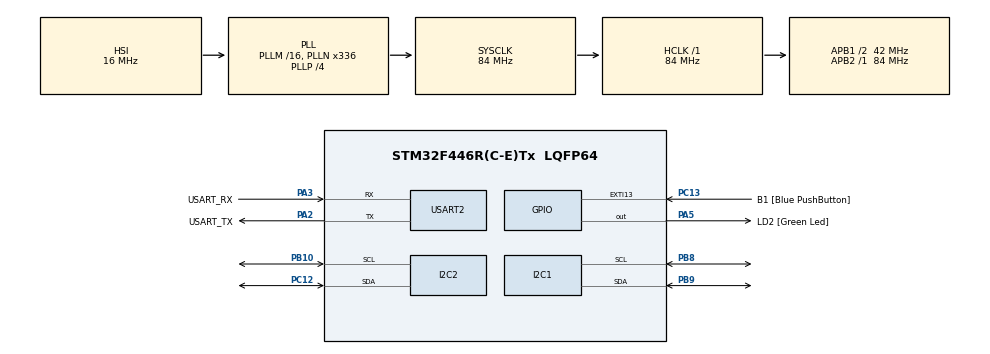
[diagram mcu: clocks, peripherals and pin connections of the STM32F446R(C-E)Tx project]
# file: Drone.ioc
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Mcu.Family=STM32F4
Mcu.Name=STM32F446R(C-E)Tx
Mcu.Package=LQFP64
NVIC.PriorityGroup=NVIC_PRIORITYGROUP_0
PA13.GPIO_Label=TMS
PA13.Signal=SYS_JTMS-SWDIO
PA14.GPIO_Label=TCK
PA14.Signal=SYS_JTCK-SWCLK
PA2.GPIO_Label=USART_TX
PA2.Mode=Asynchronous
PA2.Signal=USART2_TX
PA3.GPIO_Label=USART_RX
PA3.Mode=Asynchronous
PA3.Signal=USART2_RX
PA5.GPIO_Label=LD2 [Green Led]
PA5.Signal=GPIO_Output
PB10.Mode=I2C
PB10.Signal=I2C2_SCL
PB3.GPIO_Label=SWO
PB3.Signal=SYS_JTDO-SWO
PB8.Mode=I2C
PB8.Signal=I2C1_SCL
PB9.Mode=I2C
PB9.Signal=I2C1_SDA
PC12.Mode=I2C
PC12.Signal=I2C2_SDA
PC13.GPIO_Label=B1 [Blue PushButton]
PC13.GPIO_ModeDefaultEXTI=GPIO_MODE_IT_FALLING
PC13.Signal=GPXTI13
PC14-OSC32_IN.Signal=RCC_OSC32_IN
PC15-OSC32_OUT.Signal=RCC_OSC32_OUT
PH0-OSC_IN.Signal=RCC_OSC_IN
PH1-OSC_OUT.Signal=RCC_OSC_OUT
ProjectManager.HeapSize=0x200
ProjectManager.StackSize=0x400
ProjectManager.TargetToolchain=STM32CubeIDE
RCC.AHBFreq_Value=84000000
RCC.APB1CLKDivider=RCC_HCLK_DIV2
RCC.APB1Freq_Value=42000000
RCC.APB1TimFreq_Value=84000000
RCC.APB2Freq_Value=84000000
RCC.APB2TimFreq_Value=84000000
RCC.CortexFreq_Value=84000000
RCC.FLatency-AdvancedSettings=FLASH_LATENCY_2
RCC.HCLKFreq_Value=84000000
RCC.HSE_VALUE=8000000
RCC.HSI_VALUE=16000000
RCC.LSE_VALUE=32768
RCC.PLLN=336
RCC.PLLP=RCC_PLLP_DIV4
RCC.SYSCLKFreq_VALUE=84000000
RCC.SYSCLKSource=RCC_SYSCLKSOURCE_PLLCLK
RCC.USBFreq_Value=168000000
RCC.VCOOutputFreq_Value=336000000
TIM2.Prescaler=83
USART2.VirtualMode=VM_ASYNC
VP_TIM2_VS_ClockSourceINT.Mode=Internal
board=NUCLEO-F446RE

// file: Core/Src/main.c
/* USER CODE BEGIN Header */
/**
  ******************************************************************************
  * @file           : main.c
  * @brief          : Main program body
  ******************************************************************************
  * @attention
  *
  * Copyright (c) 2026 STMicroelectronics.
  * All rights reserved.
  *
  * This software is licensed under terms that can be found in the LICENSE file
  * in the root directory of this software component.
  * If no LICENSE file comes with this software, it is provided AS-IS.
  *
  ******************************************************************************
  */
/* USER CODE END Header */
#include "main.h"
#include "bmi088.h"
#include "bmm150.h"
#include "imu.h"

#include <stdio.h>
#include <stdint.h>
#include <string.h>

I2C_HandleTypeDef hi2c1;
I2C_HandleTypeDef hi2c2;

TIM_HandleTypeDef htim2;

UART_HandleTypeDef huart2;

/* USER CODE BEGIN PV */

static void BMM150_Compens_Test(void)
{
    static uint32_t last_uart_ms = 0;

    uint32_t now_ms = HAL_GetTick();

    if ((uint32_t)(now_ms - last_uart_ms) < 100U) {
        return;
    }

    last_uart_ms = now_ms;

    MagData_t magData;

    HAL_StatusTypeDef status = BMM150_Compens(&magData);

    char msg[128];
    int len;

    if (status != HAL_OK) {
        len = snprintf(msg, sizeof(msg),
                       "BMM150 COMPENS ERROR | HAL=%d\r\n",
                       (int)status);
    } else {
        len = snprintf(msg, sizeof(msg),
                       "BMM150 [uT] | X=%+.2f Y=%+.2f Z=%+.2f\r\n",
                       (double)magData.mag_x,
                       (double)magData.mag_y,
                       (double)magData.mag_z);
    }

    if (len > 0 && len < (int)sizeof(msg)) {
        HAL_UART_Transmit(&huart2, (uint8_t *)msg,
                          (uint16_t)len, 100);
    }
}

/* USER CODE END PV */

void SystemClock_Config(void);
static void MX_GPIO_Init(void);
static void MX_I2C1_Init(void);
static void MX_USART2_UART_Init(void);
static void MX_TIM2_Init(void);
static void MX_I2C2_Init(void);

int main(void)
{

  /* MCU Configuration--------------------------------------------------------*/

  /* Reset of all peripherals, Initializes the Flash interface and the Systick. */
  HAL_Init();

  /* Configure the system clock */
  SystemClock_Config();

  /* Initialize all configured peripherals */
  MX_GPIO_Init();
  MX_I2C1_Init();
  MX_USART2_UART_Init();
  MX_TIM2_Init();
  MX_I2C2_Init();
  /* USER CODE BEGIN 2 */
  BMM150_Init(0x28);

  /* USER CODE END 2 */

  /* Infinite loop */
  while (1)
  {

    /* USER CODE BEGIN 3 */

	  BMM150_Compens_Test();

  /* USER CODE END 3 */
}
}

void SystemClock_Config(void)
{
  RCC_OscInitTypeDef RCC_OscInitStruct = {0};
  RCC_ClkInitTypeDef RCC_ClkInitStruct = {0};

  /** Configure the main internal regulator output voltage
  */
  __HAL_RCC_PWR_CLK_ENABLE();
  __HAL_PWR_VOLTAGESCALING_CONFIG(PWR_REGULATOR_VOLTAGE_SCALE3);

  /** Initializes the RCC Oscillators according to the specified parameters
  * in the RCC_OscInitTypeDef structure.
  */
  RCC_OscInitStruct.OscillatorType = RCC_OSCILLATORTYPE_HSI;
  RCC_OscInitStruct.HSIState = RCC_HSI_ON;
  RCC_OscInitStruct.HSICalibrationValue = RCC_HSICALIBRATION_DEFAULT;
  RCC_OscInitStruct.PLL.PLLState = RCC_PLL_ON;
  RCC_OscInitStruct.PLL.PLLSource = RCC_PLLSOURCE_HSI;
  RCC_OscInitStruct.PLL.PLLM = 16;
  RCC_OscInitStruct.PLL.PLLN = 336;
  RCC_OscInitStruct.PLL.PLLP = RCC_PLLP_DIV4;
  RCC_OscInitStruct.PLL.PLLQ = 2;
  RCC_OscInitStruct.PLL.PLLR = 2;
  if (HAL_RCC_OscConfig(&RCC_OscInitStruct) != HAL_OK)
  {
    Error_Handler();
  }

  /** Initializes the CPU, AHB and APB buses clocks
  */
  RCC_ClkInitStruct.ClockType = RCC_CLOCKTYPE_HCLK|RCC_CLOCKTYPE_SYSCLK
                              |RCC_CLOCKTYPE_PCLK1|RCC_CLOCKTYPE_PCLK2;
  RCC_ClkInitStruct.SYSCLKSource = RCC_SYSCLKSOURCE_PLLCLK;
  RCC_ClkInitStruct.AHBCLKDivider = RCC_SYSCLK_DIV1;
  RCC_ClkInitStruct.APB1CLKDivider = RCC_HCLK_DIV2;
  RCC_ClkInitStruct.APB2CLKDivider = RCC_HCLK_DIV1;

  if (HAL_RCC_ClockConfig(&RCC_ClkInitStruct, FLASH_LATENCY_2) != HAL_OK)
  {
    Error_Handler();
  }
}

static void MX_I2C1_Init(void)
{

  hi2c1.Instance = I2C1;
  hi2c1.Init.ClockSpeed = 100000;
  hi2c1.Init.DutyCycle = I2C_DUTYCYCLE_2;
  hi2c1.Init.OwnAddress1 = 0;
  hi2c1.Init.AddressingMode = I2C_ADDRESSINGMODE_7BIT;
  hi2c1.Init.DualAddressMode = I2C_DUALADDRESS_DISABLE;
  hi2c1.Init.OwnAddress2 = 0;
  hi2c1.Init.GeneralCallMode = I2C_GENERALCALL_DISABLE;
  hi2c1.Init.NoStretchMode = I2C_NOSTRETCH_DISABLE;
  if (HAL_I2C_Init(&hi2c1) != HAL_OK)
  {
    Error_Handler();
  }

}

static void MX_I2C2_Init(void)
{

  hi2c2.Instance = I2C2;
  hi2c2.Init.ClockSpeed = 100000;
  hi2c2.Init.DutyCycle = I2C_DUTYCYCLE_2;
  hi2c2.Init.OwnAddress1 = 0;
  hi2c2.Init.AddressingMode = I2C_ADDRESSINGMODE_7BIT;
  hi2c2.Init.DualAddressMode = I2C_DUALADDRESS_DISABLE;
  hi2c2.Init.OwnAddress2 = 0;
  hi2c2.Init.GeneralCallMode = I2C_GENERALCALL_DISABLE;
  hi2c2.Init.NoStretchMode = I2C_NOSTRETCH_DISABLE;
  if (HAL_I2C_Init(&hi2c2) != HAL_OK)
  {
    Error_Handler();
  }

}

static void MX_TIM2_Init(void)
{

  TIM_ClockConfigTypeDef sClockSourceConfig = {0};
  TIM_MasterConfigTypeDef sMasterConfig = {0};

  htim2.Instance = TIM2;
  htim2.Init.Prescaler = 83;
  htim2.Init.CounterMode = TIM_COUNTERMODE_UP;
  htim2.Init.Period = 4294967295;
  htim2.Init.ClockDivision = TIM_CLOCKDIVISION_DIV1;
  htim2.Init.AutoReloadPreload = TIM_AUTORELOAD_PRELOAD_DISABLE;
  if (HAL_TIM_Base_Init(&htim2) != HAL_OK)
  {
    Error_Handler();
  }
  sClockSourceConfig.ClockSource = TIM_CLOCKSOURCE_INTERNAL;
  if (HAL_TIM_ConfigClockSource(&htim2, &sClockSourceConfig) != HAL_OK)
  {
    Error_Handler();
  }
  sMasterConfig.MasterOutputTrigger = TIM_TRGO_RESET;
  sMasterConfig.MasterSlaveMode = TIM_MASTERSLAVEMODE_DISABLE;
  if (HAL_TIMEx_MasterConfigSynchronization(&htim2, &sMasterConfig) != HAL_OK)
  {
    Error_Handler();
  }

}

static void MX_USART2_UART_Init(void)
{

  huart2.Instance = USART2;
  huart2.Init.BaudRate = 115200;
  huart2.Init.WordLength = UART_WORDLENGTH_8B;
  huart2.Init.StopBits = UART_STOPBITS_1;
  huart2.Init.Parity = UART_PARITY_NONE;
  huart2.Init.Mode = UART_MODE_TX_RX;
  huart2.Init.HwFlowCtl = UART_HWCONTROL_NONE;
  huart2.Init.OverSampling = UART_OVERSAMPLING_16;
  if (HAL_UART_Init(&huart2) != HAL_OK)
  {
    Error_Handler();
  }

}

static void MX_GPIO_Init(void)
{
  GPIO_InitTypeDef GPIO_InitStruct = {0};

  /* GPIO Ports Clock Enable */
  __HAL_RCC_GPIOC_CLK_ENABLE();
  __HAL_RCC_GPIOH_CLK_ENABLE();
  __HAL_RCC_GPIOA_CLK_ENABLE();
  __HAL_RCC_GPIOB_CLK_ENABLE();

  /*Configure GPIO pin Output Level */
  HAL_GPIO_WritePin(LD2_GPIO_Port, LD2_Pin, GPIO_PIN_RESET);

  /*Configure GPIO pin : B1_Pin */
  GPIO_InitStruct.Pin = B1_Pin;
  GPIO_InitStruct.Mode = GPIO_MODE_IT_FALLING;
  GPIO_InitStruct.Pull = GPIO_NOPULL;
  HAL_GPIO_Init(B1_GPIO_Port, &GPIO_InitStruct);

  /*Configure GPIO pin : LD2_Pin */
  GPIO_InitStruct.Pin = LD2_Pin;
  GPIO_InitStruct.Mode = GPIO_MODE_OUTPUT_PP;
  GPIO_InitStruct.Pull = GPIO_NOPULL;
  GPIO_InitStruct.Speed = GPIO_SPEED_FREQ_LOW;
  HAL_GPIO_Init(LD2_GPIO_Port, &GPIO_InitStruct);

}

void Error_Handler(void)
{
  __disable_irq();
  while (1)
  {
  }
}
